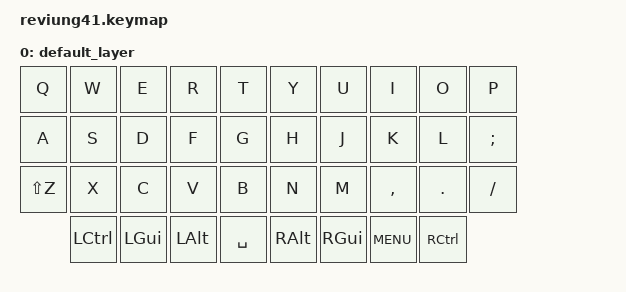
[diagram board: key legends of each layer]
/*
 * Copyright (c) 2020 The ZMK Contributors
 *
 * SPDX-License-Identifier: MIT
 */

#include <behaviors.dtsi>
#include <dt-bindings/zmk/keys.h>
#include <dt-bindings/zmk/bt.h>
#include <dt-bindings/zmk/rgb.h>

/ {
    keymap {
        compatible = "zmk,keymap";
        
        default_layer {
            bindings = <
                // Первый ряд (10 клавиш)
                &kp Q &kp W &kp E &kp R &kp T &kp Y &kp U &kp I &kp O &kp P
                
                // Второй ряд (10 клавиш)
                &kp A &kp S &kp D &kp F &kp G &kp H &kp J &kp K &kp L &kp SEMI
                
                // Третий ряд (10 клавиш)
                &kp LS(Z) &kp X &kp C &kp V &kp B &kp N &kp M &kp COMMA &kp DOT &kp SLASH
                
                // Четвертый ряд (5 клавиш)
                &kp LCTRL &kp LGUI &kp LALT &kp SPACE &kp RALT &kp RGUI &kp MENU &kp RCTRL
            >;
        };
    };
};
